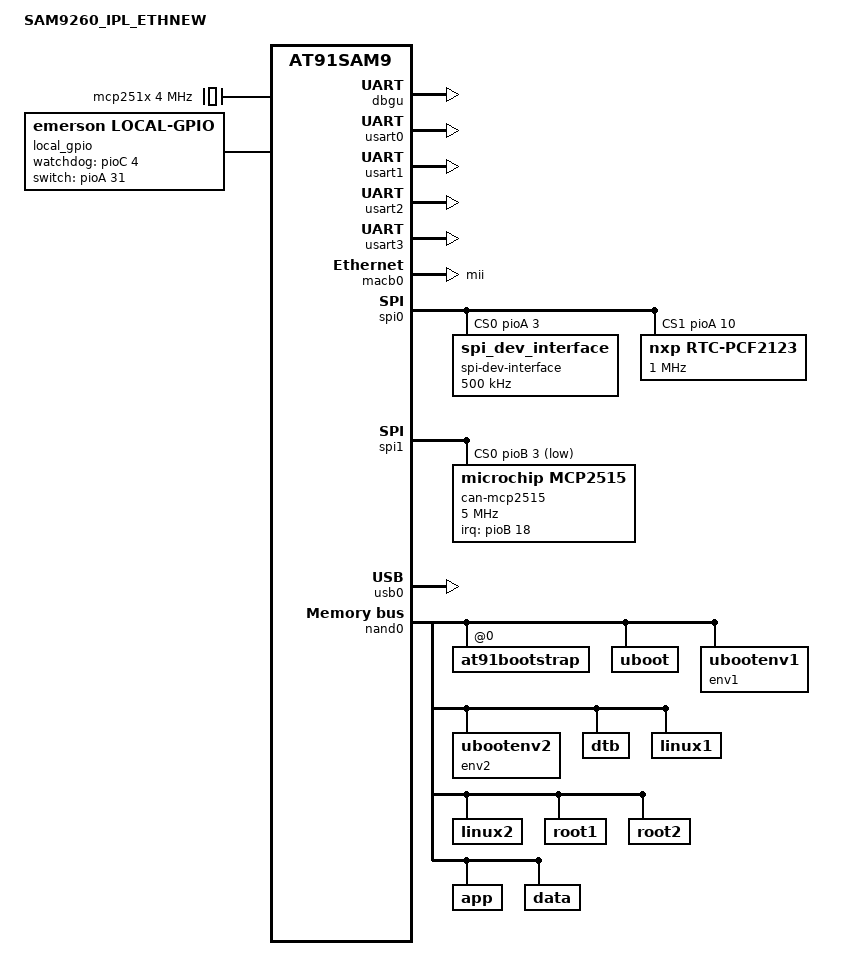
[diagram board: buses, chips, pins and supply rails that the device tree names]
/*
 * ipro4.dts - Device Tree file for Emerson iPro4 board used on IPL500D Project
 *             (with new ETH driver)
 *
 * Copyright (C) 2017 Emerson
 * Copyright (C) 2017 Rodolfo Giometti <giometti@enneenne.com>
 * Copyright (C) 2015-2017 Pierluigi Budel <pierluigi.budel@emerson.com>
 *
 * Licensed under GPLv2.
 */

/dts-v1/;
#include "at91sam9260.dtsi"

/ {
	model = "SAM9260_IPL_ETHNEW";
	compatible = "emerson,ipro4", "atmel,at91sam9260", "atmel,at91sam9";

	chosen {
		bootargs = "HWrev=1 mem=64M console=ttyS0,115200";
	};

	ahb {
		apb {

			dbgu: serial@fffff200 {
				/* ttyS0 */
				status = "okay";
			};

			pinctrl@fffff400 {

				usart0 {
				    /* only first serial port has control lines: USART0 on ttyS1. (Rx, Tx, CTS, RTS, DTR, DSR, DCD, RI) */
					pinctrl_usart0: usart0-0 {
						atmel,pins =
							<AT91_PIOB 4 AT91_PERIPH_A AT91_PINCTRL_PULL_UP	/* PULL_U for PB4 periph A */
							 AT91_PIOB 5 AT91_PERIPH_A AT91_PINCTRL_NONE>;	/* PB5 periph A */
					};
					
					pinctrl_usart0_rx: usart0_rx-0 {
						atmel,pins =
							<AT91_PIOB 5 AT91_PERIPH_B AT91_PINCTRL_PULL_UP>;	/* PULL_U for PB5 periph B */
					};

					pinctrl_usart0_cts: usart0_cts-0 {
						atmel,pins =
							<AT91_PIOB 27 AT91_PERIPH_A AT91_PINCTRL_NONE	/* PB27 periph A */
							AT91_PIOB 27 AT91_PERIPH_B AT91_PINCTRL_PULL_UP>;	/* PB27 periph B */
					};

					pinctrl_usart0_dtr_dsr: usart0_dtr_dsr-0 {
						atmel,pins =
							<AT91_PIOB 24 AT91_PERIPH_A AT91_PINCTRL_NONE	/* PB24 periph A */
							 AT91_PIOB 22 AT91_PERIPH_A AT91_PINCTRL_NONE	/* PB22 periph A */
							 AT91_PIOB 22 AT91_PERIPH_B AT91_PINCTRL_PULL_UP>;	/* PB22 periph B */
					};

					pinctrl_usart0_dcd: usart0_dcd-0 {
						atmel,pins =
							<AT91_PIOB 23 AT91_PERIPH_A AT91_PINCTRL_NONE	/* PB23 periph A */
							 AT91_PIOB 23 AT91_PERIPH_B AT91_PINCTRL_PULL_UP>;	/* PB23 periph B */
					};

					pinctrl_usart0_ri: usart0_ri-0 {
						atmel,pins =
							<AT91_PIOB 25 AT91_PERIPH_A AT91_PINCTRL_NONE	/* PB25 periph A */
							 AT91_PIOB 25 AT91_PERIPH_B AT91_PINCTRL_PULL_UP>;	/* PB25 periph B */
					};
				};

				gpio_can0 {
	 				pinctrl_gpio_can0: gpio_can0-0 {
	 					/*
						at91_set_gpio_output(AT91_PIN_PB28, 0); for future use
						at91_set_gpio_output(AT91_PIN_PB30, 1);
						*/
						atmel,pins =
							<AT91_PIOB 16 AT91_PERIPH_GPIO GPIO_ACTIVE_LOW>;  	/* CAN reset active Low */
					};
				};

				usart2 {
					pinctrl_usart2_dts: usart2_dts-0 {
						atmel,pins =
							<AT91_PIOB 19 AT91_PERIPH_GPIO GPIO_ACTIVE_HIGH>;
					};
				};

				usart3 {
					pinctrl_usart3_dts: usart3_dts-0 {
						atmel,pins =
							<AT91_PIOB 17 AT91_PERIPH_GPIO GPIO_ACTIVE_HIGH>;	
					};
				};
				
				local_gpio0 {
					pinctrl_local_pin: local_gpio-0 {
						atmel,pins =
								<AT91_PIOC 4 AT91_PERIPH_GPIO GPIO_ACTIVE_HIGH>;
					};
				};
			};

			mcp251x: mcp251x_xtal {
				compatible = "fixed-clock";
				#clock-cells = <0>;
				clock-frequency = <4000000>;//4Mhz
			};

			usart0: serial@fffb0000 {
				/* ttyS1 -- Internal Modem */
				/* This is a standard RS232 */
				pinctrl-0 = <&pinctrl_usart0
					     &pinctrl_usart0_rts
					     &pinctrl_usart0_cts
					     &pinctrl_usart0_dtr_dsr
					     &pinctrl_usart0_dcd
					     &pinctrl_usart0_ri
					    >;
				status = "okay";
			};

			usart1: serial@fffb4000 {
				/* ttyS2 -- Remote Keyboard */
				/* DTR management not really needed */
				status = "okay";
			};

			usart2: serial@fffb8000 {
				/* ttyS4 -- Dixell LAN or RS485 */
				/* DTR HW/SW enabled/disabled from userspace using ioctl */
				linux,rs485-enabled-at-boot-time; /* enable RS485 mode in the bootup */
				dtr-gpios = <&pioB 19 0>;  /* for iPRO Link, the AT91_PIN_PB19 is a dtr control signal. */
				pinctrl-0 = <&pinctrl_usart2
							 &pinctrl_usart2_dts>;
				status = "okay";
			};

			usart3: serial@fffd0000 {
				/* ttyS3 -- RS485 */
				/* Be careful on managing the DTR HW/SW from ioctl */
				linux,rs485-enabled-at-boot-time; /* enable RS485 mode in the bootup */
				dtr-gpios = <&pioB 17 0>;  /* for iPRO Link, the AT91_PIN_PB17 is a dtr control signal. */
				pinctrl-0 = <&pinctrl_usart3
							 &pinctrl_usart3_dts>;
				status = "okay";	
			};

			macb0: ethernet@fffc4000 {
 				phy-mode = "mii";
 				pinctrl-0 = <&pinctrl_macb_rmii &pinctrl_macb_rmii_mii>;
 				status = "okay";
 			};

 			spi0: spi@fffc8000 {
 				/* Needed for RTC management and SPI-DEV interface */
 				status = "okay";
 				cs-gpios = <&pioA 3 0>, <&pioA 10 0>, <0>, <0>;
 				
 				spi-dev-interface@0 {
 					status = "okay";
 					compatible ="spi_dev_interface";
 					reg = <0>;
 					spi-max-frequency = <500000>;
 				};

 				rtc-pcf2123@1 {
 					compatible ="nxp,rtc-pcf2123";
	 				reg = <1>;
	 				spi-max-frequency = <1000000>;
	 				spi-cs-high;
 				};
 			};


			spi1: spi@fffcc000  {
				status = "okay";
				cs-gpios = <&pioB 3 GPIO_ACTIVE_LOW> , <0>, <0>, <0>;				
 				/* CAN bus */
 				pinctrl-0 = <&pinctrl_spi1
							 &pinctrl_gpio_can0>;

				can-mcp2515@0 {
 					compatible ="microchip,mcp2515";
	 				reg = <0>;
	 				clocks = <&mcp251x>;
					clock-names = "mcp251x_clk";
	 				interrupt-parent = <&pioB>;
 					interrupts = <18 GPIO_ACTIVE_LOW>;
	 				spi-max-frequency = <5000000>;
 				};
 			};
		};

		local_gpio {
			/* For the local gpio virtual driver: "/dev/gpio"  */
			compatible = "emerson,local-gpio";
			pinctrl-names = "default";
			pinctrl-0 = <&pinctrl_local_pin>; /* init the pinmux functin */
			watchdog-gpios = <&pioC 4 0>;  /* for arm926ej-s CPU, the PC4 is Hardware watchdog pin. */
			switch-gpios = <&pioA 31 0>;  /* for XWEB, it will be used to switch feature. */
			status = "okay";
		};

		usb0: ohci@500000 {
			status = "okay";
		};

		nand0: nand@40000000 {
			nand-bus-width = <8>;
			nand-ecc-mode = "soft";
			status = "okay";

			at91bootstrap@0 {
				label = "at91bootstrap";
				reg = <0x0 0x20000>;
			};

			uboot@20000 {
				label = "uboot";
				reg = <0x20000 0x40000>;
			};

			ubootenv1@60000 {
				label = "env1";
				reg = <0x60000 0x20000>;
			};

			ubootenv2@80000 {
				label = "env2";
				reg = <0x80000 0x20000>;
			};

			dtb@a0000 {
				label = "dtb";
				reg = <0xa0000 0x20000>;
			};

			linux1@b0000 {
				label = "linux1";
				reg = <0xc0000 0xa00000>;
			};
			
			linux2@ab0000 {
				label = "linux2";
				reg = <0xac0000 0xa00000>;
			};

			root1@14b0000 {
				label = "root1";
				reg = <0x14c0000 0x4000000>;
			};

			root2@54b0000 {
				label = "root2";
				reg = <0x54c0000 0x4000000>;
			};

			app@94b0000 {
				label = "app";
				reg = <0x94c0000 0x4000000>;
			};

			data@d4b0000 {
				label = "data";
				reg = <0xd4c0000  0x12b40000>;
			};

		};
	};
};
